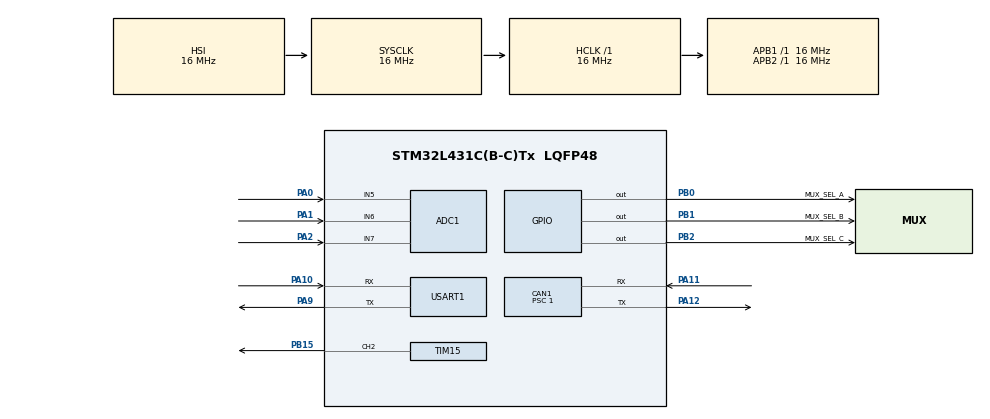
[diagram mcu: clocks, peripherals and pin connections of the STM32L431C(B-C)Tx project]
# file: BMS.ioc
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ADC1.Channel-0\#ChannelRegularConversion=ADC_CHANNEL_5
ADC1.ContinuousConvMode=ENABLE
ADC1.NbrOfConversionFlag=1
ADC1.OffsetNumber-0\#ChannelRegularConversion=ADC_OFFSET_NONE
ADC1.Rank-0\#ChannelRegularConversion=1
ADC1.SamplingTime-0\#ChannelRegularConversion=ADC_SAMPLETIME_2CYCLES_5
ADC1.master=1
CAN1.ABOM=DISABLE
CAN1.BS1=CAN_BS1_13TQ
CAN1.BS2=CAN_BS2_2TQ
CAN1.CalculateBaudRate=1000000
CAN1.CalculateTimeBit=1000
CAN1.CalculateTimeQuantum=62.5
CAN1.Mode=CAN_MODE_NORMAL
CAN1.NART=ENABLE
CAN1.Prescaler=1
Dma.ADC1.0.Direction=DMA_PERIPH_TO_MEMORY
Dma.ADC1.0.Instance=DMA2_Channel3
Dma.ADC1.0.MemDataAlignment=DMA_MDATAALIGN_HALFWORD
Dma.ADC1.0.MemInc=DMA_MINC_ENABLE
Dma.ADC1.0.Mode=DMA_NORMAL
Dma.ADC1.0.PeriphDataAlignment=DMA_PDATAALIGN_HALFWORD
Dma.ADC1.0.PeriphInc=DMA_PINC_DISABLE
Dma.ADC1.0.Priority=DMA_PRIORITY_LOW
Dma.Request0=ADC1
FREERTOS.Queues01=temp_sensor_data,16,uint32_t,0,Dynamic,NULL,NULL
FREERTOS.Tasks01=defaultTask,24,128,StartDefaultTask,Default,NULL,Dynamic,NULL,NULL;Temp_sense,24,256,StartTemp_sense,Default,NULL,Dynamic,NULL,NULL;can_transmitter,24,128,StartCan_Transmitter,Default,NULL,Dynamic,NULL,NULL
FREERTOS.configUSE_NEWLIB_REENTRANT=1
Mcu.Family=STM32L4
Mcu.Name=STM32L431C(B-C)Tx
Mcu.Package=LQFP48
NVIC.DMA2_Channel3_IRQn=true\:5\:0\:false\:false\:true\:true\:false\:true\:true
NVIC.PriorityGroup=NVIC_PRIORITYGROUP_4
NVIC.TIM1_UP_TIM16_IRQn=true\:15\:0\:false\:false\:true\:false\:false\:true\:true
NVIC.TimeBase=TIM1_UP_TIM16_IRQn
NVIC.TimeBaseIP=TIM1
PA0.Signal=ADCx_IN5
PA1.Signal=ADCx_IN6
PA10.Mode=Asynchronous
PA10.Signal=USART1_RX
PA11.Mode=CAN_Activate
PA11.Signal=CAN1_RX
PA12.Mode=CAN_Activate
PA12.Signal=CAN1_TX
PA13\ (JTMS-SWDIO).Mode=Serial_Wire
PA13\ (JTMS-SWDIO).Signal=SYS_JTMS-SWDIO
PA14\ (JTCK-SWCLK).Mode=Serial_Wire
PA14\ (JTCK-SWCLK).Signal=SYS_JTCK-SWCLK
PA2.Signal=ADCx_IN7
PA9.Mode=Asynchronous
PA9.Signal=USART1_TX
PB0.GPIO_Label=MUX_SEL_A
PB0.Signal=GPIO_Output
PB1.GPIO_Label=MUX_SEL_B
PB1.Signal=GPIO_Output
PB15.Signal=S_TIM15_CH2
PB2.GPIO_Label=MUX_SEL_C
PB2.Signal=GPIO_Output
ProjectManager.HeapSize=0x200
ProjectManager.StackSize=0x400
ProjectManager.TargetToolchain=STM32CubeIDE
RCC.ADCFreq_Value=32000000
RCC.AHBFreq_Value=16000000
RCC.APB1Freq_Value=16000000
RCC.APB1TimFreq_Value=16000000
RCC.APB2Freq_Value=16000000
RCC.APB2TimFreq_Value=16000000
RCC.CortexFreq_Value=16000000
RCC.HCLKFreq_Value=16000000
RCC.HSE_VALUE=8000000
RCC.HSI48_VALUE=48000000
RCC.HSI_VALUE=16000000
RCC.LSE_VALUE=32768
RCC.MSI_VALUE=4000000
RCC.PLLM=2
RCC.PLLN=25
RCC.PLLR=RCC_PLLR_DIV4
RCC.PLLSourceVirtual=RCC_PLLSOURCE_HSI
RCC.SYSCLKFreq_VALUE=16000000
RCC.SYSCLKSource=RCC_SYSCLKSOURCE_HSI
RCC.USART1CLockSelection=RCC_USART1CLKSOURCE_HSI
RCC.VCOOutputFreq_Value=200000000
SH.ADCx_IN5.0=ADC1_IN5,IN5-Single-Ended
SH.ADCx_IN6.0=ADC1_IN6,IN6-Single-Ended
SH.ADCx_IN7.0=ADC1_IN7,IN7-Single-Ended
SH.S_TIM15_CH2.0=TIM15_CH2,PWM Generation2 CH2
TIM15.Channel-PWM\ Generation2\ CH2=TIM_CHANNEL_2
TIM15.Period=47999
TIM15.Prescaler=999
USART1.VirtualMode-Asynchronous=VM_ASYNC
VP_FREERTOS_VS_CMSIS_V2.Mode=CMSIS_V2
VP_SYS_VS_tim1.Mode=TIM1
board=custom

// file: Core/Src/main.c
/* USER CODE BEGIN Header */
/**
  ******************************************************************************
  * @file           : main.c
  * @brief          : Main program body
  ******************************************************************************
  * @attention
  *
  * Copyright (c) 2025 STMicroelectronics.
  * All rights reserved.
  *
  * This software is licensed under terms that can be found in the LICENSE file
  * in the root directory of this software component.
  * If no LICENSE file comes with this software, it is provided AS-IS.
  *
  ******************************************************************************
  */
/* USER CODE END Header */
#include "main.h"
#include "cmsis_os.h"
#include "adc.h"
#include "can.h"
#include "dma.h"
#include "tim.h"
#include "usart.h"
#include "gpio.h"

/* USER CODE BEGIN Includes */
#include "temp_sensing.h"

/* USER CODE END Includes */

/* USER CODE BEGIN PV */
uint32_t adc_data[NUM_MUX];
uint32_t temp_average[NUM_MUX] = {0};
uint32_t temp_data[NUM_SAMPLES][NUM_MUX] = {0};

/* USER CODE END PV */

void SystemClock_Config(void);
void MX_FREERTOS_Init(void);
/* USER CODE BEGIN PFP */

void Can_Health(void);

/* USER CODE END PFP */

/* USER CODE BEGIN 0 */

extern DMA_HandleTypeDef hdma_adc1;

/* USER CODE END 0 */

int main(void)
{

  /* MCU Configuration--------------------------------------------------------*/

  /* Reset of all peripherals, Initializes the Flash interface and the Systick. */
  HAL_Init();

  /* Configure the system clock */
  SystemClock_Config();

  /* Initialize all configured peripherals */
  MX_GPIO_Init();
  MX_DMA_Init();
  MX_CAN1_Init();
  MX_USART1_UART_Init();
  MX_ADC1_Init();
  MX_TIM15_Init();
  /* USER CODE BEGIN 2 */

  if(HAL_CAN_Start(&hcan1)!= HAL_OK){

	  Error_Handler();
  }

  //Can_Health();

  HAL_ADC_Start_DMA(&hdma_adc1, adc_data, NUM_MUX);
  if(HAL_DMA_GetState(&hdma_adc1) != HAL_DMA_STATE_READY){

	  uint32_t error = HAL_DMA_GetError(&hdma_adc1);
  }
 // HAL_TIM_PWM_Start(&htim15, TIM_CHANNEL_2);

  /* USER CODE END 2 */

  /* Init scheduler */
  osKernelInitialize();

  /* Call init function for freertos objects (in cmsis_os2.c) */
  MX_FREERTOS_Init();

  /* Start scheduler */
  osKernelStart();

  /* We should never get here as control is now taken by the scheduler */

  /* Infinite loop */
  while (1)
  {

    /* USER CODE BEGIN 3 */
	  //Code for sending CAN message
	  	  HAL_Delay(SAMPLE_DELAY);

  }
  /* USER CODE END 3 */
}

void SystemClock_Config(void)
{
  RCC_OscInitTypeDef RCC_OscInitStruct = {0};
  RCC_ClkInitTypeDef RCC_ClkInitStruct = {0};

  /** Configure the main internal regulator output voltage
  */
  if (HAL_PWREx_ControlVoltageScaling(PWR_REGULATOR_VOLTAGE_SCALE1) != HAL_OK)
  {
    Error_Handler();
  }

  /** Initializes the RCC Oscillators according to the specified parameters
  * in the RCC_OscInitTypeDef structure.
  */
  RCC_OscInitStruct.OscillatorType = RCC_OSCILLATORTYPE_HSI;
  RCC_OscInitStruct.HSIState = RCC_HSI_ON;
  RCC_OscInitStruct.HSICalibrationValue = RCC_HSICALIBRATION_DEFAULT;
  RCC_OscInitStruct.PLL.PLLState = RCC_PLL_NONE;
  if (HAL_RCC_OscConfig(&RCC_OscInitStruct) != HAL_OK)
  {
    Error_Handler();
  }

  /** Initializes the CPU, AHB and APB buses clocks
  */
  RCC_ClkInitStruct.ClockType = RCC_CLOCKTYPE_HCLK|RCC_CLOCKTYPE_SYSCLK
                              |RCC_CLOCKTYPE_PCLK1|RCC_CLOCKTYPE_PCLK2;
  RCC_ClkInitStruct.SYSCLKSource = RCC_SYSCLKSOURCE_HSI;
  RCC_ClkInitStruct.AHBCLKDivider = RCC_SYSCLK_DIV1;
  RCC_ClkInitStruct.APB1CLKDivider = RCC_HCLK_DIV1;
  RCC_ClkInitStruct.APB2CLKDivider = RCC_HCLK_DIV1;

  if (HAL_RCC_ClockConfig(&RCC_ClkInitStruct, FLASH_LATENCY_0) != HAL_OK)
  {
    Error_Handler();
  }
}

void HAL_TIM_PeriodElapsedCallback(TIM_HandleTypeDef *htim)
{
  if (htim->Instance == TIM1)
  {
    HAL_IncTick();
  }
}

void Error_Handler(void)
{
  __disable_irq();
  while (1)
  {
  }
}

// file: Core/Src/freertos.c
/* USER CODE BEGIN Header */
/**
  ******************************************************************************
  * File Name          : freertos.c
  * Description        : Code for freertos applications
  ******************************************************************************
  * @attention
  *
  * Copyright (c) 2024 STMicroelectronics.
  * All rights reserved.
  *
  * This software is licensed under terms that can be found in the LICENSE file
  * in the root directory of this software component.
  * If no LICENSE file comes with this software, it is provided AS-IS.
  *
  ******************************************************************************
  */
/* USER CODE END Header */

#include "FreeRTOS.h"
#include "task.h"
#include "main.h"
#include "cmsis_os.h"

/* USER CODE BEGIN Includes */
#include "temp_sensing.h"
#include "can_driver.h"
#include "usart.h"
#include "config.h"

/* USER CODE END Includes */

/* Definitions for defaultTask */
osThreadId_t defaultTaskHandle;
const osThreadAttr_t defaultTask_attributes = {
  .name = "defaultTask",
  .stack_size = 128 * 4,
  .priority = (osPriority_t) osPriorityNormal,
};
/* Definitions for Temp_sense */
osThreadId_t Temp_senseHandle;
const osThreadAttr_t Temp_sense_attributes = {
  .name = "Temp_sense",
  .stack_size = 256 * 4,
  .priority = (osPriority_t) osPriorityNormal,
};
/* Definitions for can_transmitter */
osThreadId_t can_transmitterHandle;
const osThreadAttr_t can_transmitter_attributes = {
  .name = "can_transmitter",
  .stack_size = 128 * 4,
  .priority = (osPriority_t) osPriorityNormal,
};
/* Definitions for temp_sensor_data */
osMessageQueueId_t temp_sensor_dataHandle;
const osMessageQueueAttr_t temp_sensor_data_attributes = {
  .name = "temp_sensor_data"
};

void StartDefaultTask(void *argument);
void StartTemp_sense(void *argument);
void StartCan_Transmitter(void *argument);

void MX_FREERTOS_Init(void); /* (MISRA C 2004 rule 8.1) */

void MX_FREERTOS_Init(void) {

  /* Create the queue(s) */
  /* creation of temp_sensor_data */
  temp_sensor_dataHandle = osMessageQueueNew (16, sizeof(uint32_t), &temp_sensor_data_attributes);

  /* Create the thread(s) */
  /* creation of defaultTask */
  defaultTaskHandle = osThreadNew(StartDefaultTask, NULL, &defaultTask_attributes);

  /* creation of Temp_sense */
  Temp_senseHandle = osThreadNew(StartTemp_sense, NULL, &Temp_sense_attributes);

  /* creation of can_transmitter */
  can_transmitterHandle = osThreadNew(StartCan_Transmitter, NULL, &can_transmitter_attributes);

}

void StartDefaultTask(void *argument)
{
  for(;;)
  {
    osDelay(1);
  }
}

void StartTemp_sense(void *argument)
{
  /* USER CODE BEGIN StartTemp_sense */
	uint32_t adc_data[NUM_MUX];
		uint32_t temp_average[NUM_MUX] = {0}; //average temp from the previous iterations
		uint32_t temp_data[NUM_SAMPLES][NUM_MUX] = {0};
  /* Infinite loop */
  for(;;)
  {
	  //Measures average thermistor temperature of each MUX
	  	measureTempADC(temp_average, adc_data, temp_data);
	  	osMessageQueuePut(temp_sensor_dataHandle, temp_average, 0, osWaitForever);

	  	osSemaphoreRelease(TempSemHandle);
    osDelay(100);
  }
  /* USER CODE END StartTemp_sense */
}

void StartCan_Transmitter(void *argument)
{
  /* USER CODE BEGIN StartCan_Transmitter */

	//create buffer int array/ use to pull data
	uint32_t temp_buffer[NUM_MUX] = {0};
	//Initialize the tx CAN frame, use this to send out data (frame is a package of mail)
	CAN_Frame_t tx_frame = CAN_frame_init(&hcan1, BMS_BOARD);
	//Error code initialization
	uint8_t error_code = 0;
  /* Infinite loop */
  for(;;)
  {
	//semaphore acquire (counter--)
	osSemaphoreAcquire(TempSemHandle, osWaitForever);
	//receives the message from the transmitter
	//grab value from os queue and put into buffer
	osMessageQueueGet(temp_sensor_dataHandle, temp_buffer, NULL, osWaitForever);

	//CAN_set_segment for each value in the temp buffer
	CAN_set_segment(&tx_frame, MUX1_TEMP , temp_buffer[0]);
	CAN_set_segment(&tx_frame, MUX2_TEMP , temp_buffer[1]);
	CAN_set_segment(&tx_frame, MUX3_TEMP ,  temp_buffer[2]);
	CAN_set_segment(&tx_frame, MUX4_TEMP ,  temp_buffer[3]);
	CAN_set_segment(&tx_frame, MUX5_TEMP ,  temp_buffer[4]);
	CAN_set_segment(&tx_frame, MUX6_TEMP , temp_buffer[5]);

	//error code something
	CAN_set_segment(&tx_frame, BMS_ERROR_CODE, error_code);

	//Send data to RPI
    if (HAL_CAN_GetTxMailboxesFreeLevel(&hcan1)) {
    	CAN_send_frame(tx_frame);

    }

	osDelay(100);
  }
  /* USER CODE END StartCan_Transmitter */
}
